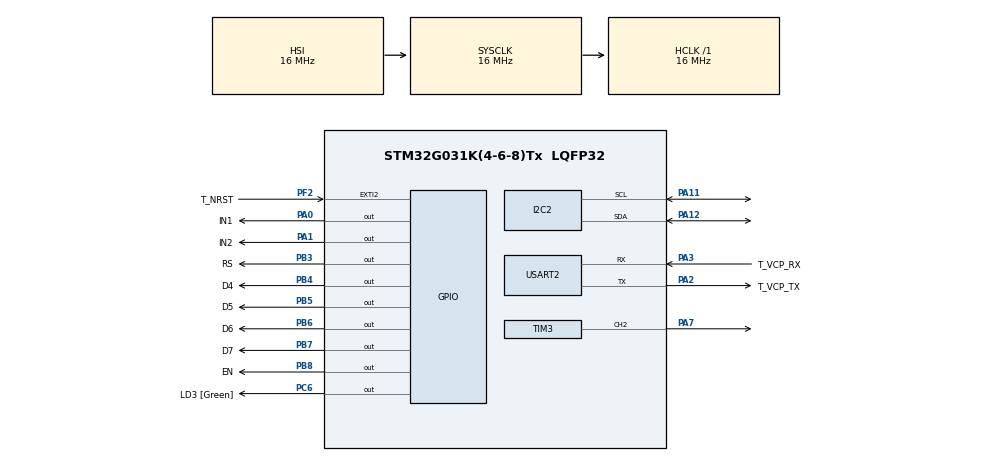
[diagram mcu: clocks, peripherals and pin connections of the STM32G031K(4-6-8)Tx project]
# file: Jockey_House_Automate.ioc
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Mcu.Family=STM32G0
Mcu.Name=STM32G031K(4-6-8)Tx
Mcu.Package=LQFP32
PA0.GPIO_Label=IN1
PA0.GPIO_PuPd=GPIO_NOPULL
PA0.PinState=GPIO_PIN_SET
PA0.Signal=GPIO_Output
PA1.GPIO_Label=IN2
PA1.GPIO_PuPd=GPIO_NOPULL
PA1.PinState=GPIO_PIN_SET
PA1.Signal=GPIO_Output
PA11\ [PA9].Mode=I2C
PA11\ [PA9].Signal=I2C2_SCL
PA12\ [PA10].Mode=I2C
PA12\ [PA10].Signal=I2C2_SDA
PA13.GPIO_Label=T_JTMS
PA13.Mode=Serial_Wire
PA13.Signal=SYS_SWDIO
PA14-BOOT0.GPIO_Label=T_JTCK
PA14-BOOT0.Mode=Serial_Wire
PA14-BOOT0.Signal=SYS_SWCLK
PA2.GPIO_Label=T_VCP_TX
PA2.GPIO_PuPd=GPIO_PULLUP
PA2.Mode=Asynchronous
PA2.Signal=USART2_TX
PA3.GPIO_Label=T_VCP_RX
PA3.GPIO_PuPd=GPIO_PULLUP
PA3.Mode=Asynchronous
PA3.Signal=USART2_RX
PA7.Signal=S_TIM3_CH2
PB3.GPIO_Label=RS
PB3.Signal=GPIO_Output
PB4.GPIO_Label=D4
PB4.Signal=GPIO_Output
PB5.GPIO_Label=D5
PB5.Signal=GPIO_Output
PB6.GPIO_Label=D6
PB6.Signal=GPIO_Output
PB7.GPIO_Label=D7
PB7.Signal=GPIO_Output
PB8.GPIO_Label=EN
PB8.Signal=GPIO_Output
PC14-OSC32_IN\ (PC14).Mode=LSE-External-Oscillator
PC14-OSC32_IN\ (PC14).Signal=RCC_OSC32_IN
PC15-OSC32_OUT\ (PC15).Mode=LSE-External-Oscillator
PC15-OSC32_OUT\ (PC15).Signal=RCC_OSC32_OUT
PC6.GPIO_Label=LD3 [Green]
PC6.Signal=GPIO_Output
PF2\ -\ NRST.GPIO_Label=T_NRST
PF2\ -\ NRST.Signal=GPXTI2
ProjectManager.HeapSize=0x200
ProjectManager.StackSize=0x400
ProjectManager.TargetToolchain=STM32CubeIDE
RCC.AHBFreq_Value=16000000
RCC.CortexFreq_Value=16000000
RCC.EXTERNAL_CLOCK_VALUE=12288000
RCC.HCLKFreq_Value=16000000
RCC.HSE_VALUE=8000000
RCC.HSI_VALUE=16000000
RCC.SYSCLKFreq_VALUE=16000000
RCC.VCOOutputFreq_Value=128000000
SH.S_TIM3_CH2.0=TIM3_CH2,PWM Generation2 CH2
TIM3.Channel-PWM\ Generation2\ CH2=TIM_CHANNEL_2
TIM3.Period=199
TIM3.Prescaler=15
TIM3.Pulse-PWM\ Generation2\ CH2=100
USART2.VirtualMode-Asynchronous=VM_ASYNC
USART2.WordLength=WORDLENGTH_7B
board=NUCLEO-G031K8

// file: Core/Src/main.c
/* USER CODE BEGIN Header */
/**
  ******************************************************************************
  * @file           : main.c
  * @brief          : Main program body
  ******************************************************************************
  * @attention
  *
  * Copyright (c) 2025 STMicroelectronics.
  * All rights reserved.
  *
  * This software is licensed under terms that can be found in the LICENSE file
  * in the root directory of this software component.
  * If no LICENSE file comes with this software, it is provided AS-IS.
  *
  ******************************************************************************
  */
/* USER CODE END Header */
#include "main.h"

/* USER CODE BEGIN Includes */
#include <stdio.h>
#include <stdlib.h>
#include <string.h>
#include "ds3231_for_stm32_hal.h"
#include "lcd16x2.h"
/* USER CODE END Includes */

/* USER CODE BEGIN PD */

// Below variables are for RTC DS3231
uint8_t hr,min,sec;
char clock[16];

// Below variables are for AHT20
#define addr (0x38<<1)    //This address writes to Slave Devices, we get 0x70
#define status1 0x71

char buffer[45];
uint8_t buff_stat[1];
uint8_t aht_init[3]={0xBE,0x08,0x00};
uint8_t trig_measurement[3]={0xAC,0x33,0x00};
uint8_t data[6];
char temp_str[16];
char humi_str[16];

uint32_t t;
uint32_t h;

float Temp;
uint8_t Humidity;

//For Relay Timings

#define UV_ON_HOUR     8     // 08:00 AM
#define UV_OFF_HOUR    21    // 05:00 PM

// Ambient Light (LED Strip) ON/OFF and Fade Times
#define AMBIENT_LIGHT_FADE_IN_START_HOUR   9
#define AMBIENT_LIGHT_FADE_IN_START_MIN    30

#define AMBIENT_LIGHT_FADE_IN_END_HOUR     9
#define AMBIENT_LIGHT_FADE_IN_END_MIN      45

#define AMBIENT_LIGHT_FADE_OUT_START_HOUR  20
#define AMBIENT_LIGHT_FADE_OUT_START_MIN   50

#define AMBIENT_LIGHT_FADE_OUT_END_HOUR    20
#define AMBIENT_LIGHT_FADE_OUT_END_MIN     55

#define PWM_MAX_DUTY_CYCLE                 100						//Alter this no. to control the Duty Cycle/Brightness of the LED. 199 corresponds to 100% Duty Cycle. Currently set to 50%

/* USER CODE END PD */

I2C_HandleTypeDef hi2c2;

TIM_HandleTypeDef htim3;

UART_HandleTypeDef huart2;

void SystemClock_Config(void);
static void MX_GPIO_Init(void);
static void MX_USART2_UART_Init(void);
static void MX_I2C2_Init(void);
static void MX_TIM3_Init(void);
/* USER CODE BEGIN PFP */
void Temperature_();
void Humidity_();

/* USER CODE END PFP */

int main(void)
{

  /* MCU Configuration--------------------------------------------------------*/

  /* Reset of all peripherals, Initializes the Flash interface and the Systick. */
  HAL_Init();

  /* Configure the system clock */
  SystemClock_Config();

  /* Initialize all configured peripherals */
  MX_GPIO_Init();
  MX_USART2_UART_Init();
  MX_I2C2_Init();
  MX_TIM3_Init();
  /* USER CODE BEGIN 2 */

  lcd16x2_init_4bits(RS_GPIO_Port,RS_Pin,EN_Pin,
    		D4_GPIO_Port,D4_Pin,D5_Pin,D6_Pin,D7_Pin);
  lcd16x2_cursorShow(0);

  HAL_TIM_PWM_Start(&htim3, TIM_CHANNEL_2);
  __HAL_TIM_SET_COMPARE(&htim3, TIM_CHANNEL_2, 100);			//This value:199 means 100% duty cycle. 199 value is set in the ARR.You must match the compare value to the ARR value to get 100percent duty cycle

  /* DS3231 RTC SENSOR  */
  // DS3231_SetFullDate(day, month, dow, year)
  // 'dow' = Day of the week (1=Sunday, ..., 7=Saturday)
    DS3231_Init(&hi2c2);
  //DS3231_SetFullTime(19, 49, 00);
  //DS3231_SetFullDate(01, 8, 1, 2025);    //

  /* AHT20 TEMP & HUM  */
  HAL_Delay(40);
  buff_stat[0] = status1;
  HAL_I2C_Master_Transmit(&hi2c2, addr, buff_stat,1, HAL_MAX_DELAY);
  HAL_Delay(5);
  HAL_I2C_Master_Receive(&hi2c2, addr, &buff_stat[0],1, HAL_MAX_DELAY);
  HAL_Delay(5);

  if((buff_stat[0] & (1<<3)) == 0x00){ 		//bit 3 contains 0 instead of 1 then we need to initialize it/Calibrate it

	  	  HAL_I2C_Master_Transmit(&hi2c2, addr, aht_init,3, HAL_MAX_DELAY);
	  	  HAL_Delay(12);
	  	  HAL_I2C_Master_Transmit(&hi2c2, addr, trig_measurement,3, HAL_MAX_DELAY);
	  	  HAL_Delay(80);

	  	 // sprintf(buffer,"%x\r\n",temp_crc_read[0]);
	      sprintf(buffer,"It is Not Calibrated, need to init N trig");
	 	  HAL_UART_Transmit(&huart2, (uint8_t*)buffer, sizeof(buffer), 100);
	 	  HAL_Delay(1000);

  }

  /* USER CODE END 2 */

  /* Infinite loop */
  while (1)
  {

    /* USER CODE BEGIN 3 */
	  // ---- Getting RTC Values from the RTC Module ----
	  hr = DS3231_GetHour();
	  min = DS3231_GetMinute();
	  sec = DS3231_GetSecond();

	  // ---- Ambient Light PWM Control ----
	  uint16_t current_minutes = hr * 60 + min;
	  uint16_t fade_in_start  = AMBIENT_LIGHT_FADE_IN_START_HOUR * 60 + AMBIENT_LIGHT_FADE_IN_START_MIN;
	  uint16_t fade_in_end    = AMBIENT_LIGHT_FADE_IN_END_HOUR * 60 + AMBIENT_LIGHT_FADE_IN_END_MIN;
	  uint16_t fade_out_start = AMBIENT_LIGHT_FADE_OUT_START_HOUR * 60 + AMBIENT_LIGHT_FADE_OUT_START_MIN;
	  uint16_t fade_out_end   = AMBIENT_LIGHT_FADE_OUT_END_HOUR * 60 + AMBIENT_LIGHT_FADE_OUT_END_MIN;

	  uint16_t brightness = 0;

	  if (current_minutes >= fade_in_start && current_minutes < fade_in_end) {
	      float ratio = (float)(current_minutes - fade_in_start) / (fade_in_end - fade_in_start);
	      brightness = (uint16_t)(ratio * PWM_MAX_DUTY_CYCLE);
	  }
	  else if (current_minutes >= fade_in_end && current_minutes < fade_out_start) {
	      brightness = PWM_MAX_DUTY_CYCLE;
	  }
	  else if (current_minutes >= fade_out_start && current_minutes < fade_out_end) {
	      float ratio = (float)(fade_out_end - current_minutes) / (fade_out_end - fade_out_start);
	      brightness = (uint16_t)(ratio * PWM_MAX_DUTY_CYCLE);
	  }
	  else {
	      brightness = 0;
	  }

	  __HAL_TIM_SET_COMPARE(&htim3, TIM_CHANNEL_2, brightness);

	  // ---- Getting Temp and Humidity Data from the Sensor Module
	  HAL_I2C_Master_Transmit(&hi2c2, addr, trig_measurement,3, HAL_MAX_DELAY);
	  HAL_Delay(80);
	  HAL_I2C_Master_Receive(&hi2c2, addr,data,sizeof(data), HAL_MAX_DELAY);
      Humidity_();
      Temperature_();

      sprintf(temp_str, "%.1f", Temp);
      sprintf(humi_str, "%u", Humidity);
      sprintf(clock,"%02u:%02u:%02u", hr, min,sec);

	  if (hr >= UV_ON_HOUR && hr < UV_OFF_HOUR) {
	      HAL_GPIO_WritePin(IN1_GPIO_Port, IN1_Pin, GPIO_PIN_RESET);  // Turn ON UV Lamp
	  } else {
	      HAL_GPIO_WritePin(IN1_GPIO_Port, IN1_Pin, GPIO_PIN_SET); // Turn OFF UV Lamp
	  }

	  // Screen 1: Temp & Humidity (10s static)
	      // -------------------
	      lcd16x2_clear();
	      lcd16x2_printf("T:%s%cC", temp_str, 223);
	      lcd16x2_2ndLine();
	      lcd16x2_printf("H:%s%c", humi_str, 37);
	      HAL_Delay(10000);  // wait for 10 seconds

	      // -------------------
	      // Screen 2: Time & UV status (3s static)
	      // -------------------
	      lcd16x2_clear();
	      lcd16x2_printf("%s", clock);
	      lcd16x2_2ndLine();
	      lcd16x2_printf("UV:%s", (hr >= UV_ON_HOUR && hr < UV_OFF_HOUR) ? "ON " : "OFF");
	      HAL_Delay(3000);   // wait for 3 seconds

  }
  /* USER CODE END 3 */
}

void SystemClock_Config(void)
{
  RCC_OscInitTypeDef RCC_OscInitStruct = {0};
  RCC_ClkInitTypeDef RCC_ClkInitStruct = {0};

  /** Configure the main internal regulator output voltage
  */
  HAL_PWREx_ControlVoltageScaling(PWR_REGULATOR_VOLTAGE_SCALE1);

  /** Initializes the RCC Oscillators according to the specified parameters
  * in the RCC_OscInitTypeDef structure.
  */
  RCC_OscInitStruct.OscillatorType = RCC_OSCILLATORTYPE_HSI;
  RCC_OscInitStruct.HSIState = RCC_HSI_ON;
  RCC_OscInitStruct.HSIDiv = RCC_HSI_DIV1;
  RCC_OscInitStruct.HSICalibrationValue = RCC_HSICALIBRATION_DEFAULT;
  RCC_OscInitStruct.PLL.PLLState = RCC_PLL_NONE;
  if (HAL_RCC_OscConfig(&RCC_OscInitStruct) != HAL_OK)
  {
    Error_Handler();
  }

  /** Initializes the CPU, AHB and APB buses clocks
  */
  RCC_ClkInitStruct.ClockType = RCC_CLOCKTYPE_HCLK|RCC_CLOCKTYPE_SYSCLK
                              |RCC_CLOCKTYPE_PCLK1;
  RCC_ClkInitStruct.SYSCLKSource = RCC_SYSCLKSOURCE_HSI;
  RCC_ClkInitStruct.AHBCLKDivider = RCC_SYSCLK_DIV1;
  RCC_ClkInitStruct.APB1CLKDivider = RCC_HCLK_DIV1;

  if (HAL_RCC_ClockConfig(&RCC_ClkInitStruct, FLASH_LATENCY_0) != HAL_OK)
  {
    Error_Handler();
  }
}

static void MX_I2C2_Init(void)
{

  hi2c2.Instance = I2C2;
  hi2c2.Init.Timing = 0x00303D5B;
  hi2c2.Init.OwnAddress1 = 0;
  hi2c2.Init.AddressingMode = I2C_ADDRESSINGMODE_7BIT;
  hi2c2.Init.DualAddressMode = I2C_DUALADDRESS_DISABLE;
  hi2c2.Init.OwnAddress2 = 0;
  hi2c2.Init.OwnAddress2Masks = I2C_OA2_NOMASK;
  hi2c2.Init.GeneralCallMode = I2C_GENERALCALL_DISABLE;
  hi2c2.Init.NoStretchMode = I2C_NOSTRETCH_DISABLE;
  if (HAL_I2C_Init(&hi2c2) != HAL_OK)
  {
    Error_Handler();
  }

  /** Configure Analogue filter
  */
  if (HAL_I2CEx_ConfigAnalogFilter(&hi2c2, I2C_ANALOGFILTER_ENABLE) != HAL_OK)
  {
    Error_Handler();
  }

  /** Configure Digital filter
  */
  if (HAL_I2CEx_ConfigDigitalFilter(&hi2c2, 0) != HAL_OK)
  {
    Error_Handler();
  }

}

static void MX_TIM3_Init(void)
{

  TIM_MasterConfigTypeDef sMasterConfig = {0};
  TIM_OC_InitTypeDef sConfigOC = {0};

  htim3.Instance = TIM3;
  htim3.Init.Prescaler = 15;
  htim3.Init.CounterMode = TIM_COUNTERMODE_UP;
  htim3.Init.Period = 199;
  htim3.Init.ClockDivision = TIM_CLOCKDIVISION_DIV1;
  htim3.Init.AutoReloadPreload = TIM_AUTORELOAD_PRELOAD_DISABLE;
  if (HAL_TIM_PWM_Init(&htim3) != HAL_OK)
  {
    Error_Handler();
  }
  sMasterConfig.MasterOutputTrigger = TIM_TRGO_RESET;
  sMasterConfig.MasterSlaveMode = TIM_MASTERSLAVEMODE_DISABLE;
  if (HAL_TIMEx_MasterConfigSynchronization(&htim3, &sMasterConfig) != HAL_OK)
  {
    Error_Handler();
  }
  sConfigOC.OCMode = TIM_OCMODE_PWM1;
  sConfigOC.Pulse = 100;
  sConfigOC.OCPolarity = TIM_OCPOLARITY_HIGH;
  sConfigOC.OCFastMode = TIM_OCFAST_DISABLE;
  if (HAL_TIM_PWM_ConfigChannel(&htim3, &sConfigOC, TIM_CHANNEL_2) != HAL_OK)
  {
    Error_Handler();
  }
  HAL_TIM_MspPostInit(&htim3);

}

static void MX_USART2_UART_Init(void)
{

  huart2.Instance = USART2;
  huart2.Init.BaudRate = 115200;
  huart2.Init.WordLength = UART_WORDLENGTH_7B;
  huart2.Init.StopBits = UART_STOPBITS_1;
  huart2.Init.Parity = UART_PARITY_NONE;
  huart2.Init.Mode = UART_MODE_TX_RX;
  huart2.Init.HwFlowCtl = UART_HWCONTROL_NONE;
  huart2.Init.OverSampling = UART_OVERSAMPLING_16;
  huart2.Init.OneBitSampling = UART_ONE_BIT_SAMPLE_DISABLE;
  huart2.Init.ClockPrescaler = UART_PRESCALER_DIV1;
  huart2.AdvancedInit.AdvFeatureInit = UART_ADVFEATURE_NO_INIT;
  if (HAL_UART_Init(&huart2) != HAL_OK)
  {
    Error_Handler();
  }

}

static void MX_GPIO_Init(void)
{
  GPIO_InitTypeDef GPIO_InitStruct = {0};

  /* GPIO Ports Clock Enable */
  __HAL_RCC_GPIOC_CLK_ENABLE();
  __HAL_RCC_GPIOF_CLK_ENABLE();
  __HAL_RCC_GPIOA_CLK_ENABLE();
  __HAL_RCC_GPIOB_CLK_ENABLE();

  /*Configure GPIO pin Output Level */
  HAL_GPIO_WritePin(GPIOA, IN1_Pin|IN2_Pin, GPIO_PIN_SET);

  /*Configure GPIO pin Output Level */
  HAL_GPIO_WritePin(LD3_GPIO_Port, LD3_Pin, GPIO_PIN_RESET);

  /*Configure GPIO pin Output Level */
  HAL_GPIO_WritePin(GPIOB, RS_Pin|D4_Pin|D5_Pin|D6_Pin
                          |D7_Pin|EN_Pin, GPIO_PIN_RESET);

  /*Configure GPIO pin : T_NRST_Pin */
  GPIO_InitStruct.Pin = T_NRST_Pin;
  GPIO_InitStruct.Mode = GPIO_MODE_IT_RISING;
  GPIO_InitStruct.Pull = GPIO_NOPULL;
  HAL_GPIO_Init(T_NRST_GPIO_Port, &GPIO_InitStruct);

  /*Configure GPIO pins : IN1_Pin IN2_Pin */
  GPIO_InitStruct.Pin = IN1_Pin|IN2_Pin;
  GPIO_InitStruct.Mode = GPIO_MODE_OUTPUT_PP;
  GPIO_InitStruct.Pull = GPIO_NOPULL;
  GPIO_InitStruct.Speed = GPIO_SPEED_FREQ_LOW;
  HAL_GPIO_Init(GPIOA, &GPIO_InitStruct);

  /*Configure GPIO pin : LD3_Pin */
  GPIO_InitStruct.Pin = LD3_Pin;
  GPIO_InitStruct.Mode = GPIO_MODE_OUTPUT_PP;
  GPIO_InitStruct.Pull = GPIO_NOPULL;
  GPIO_InitStruct.Speed = GPIO_SPEED_FREQ_LOW;
  HAL_GPIO_Init(LD3_GPIO_Port, &GPIO_InitStruct);

  /*Configure GPIO pins : RS_Pin D4_Pin D5_Pin D6_Pin
                           D7_Pin EN_Pin */
  GPIO_InitStruct.Pin = RS_Pin|D4_Pin|D5_Pin|D6_Pin
                          |D7_Pin|EN_Pin;
  GPIO_InitStruct.Mode = GPIO_MODE_OUTPUT_PP;
  GPIO_InitStruct.Pull = GPIO_NOPULL;
  GPIO_InitStruct.Speed = GPIO_SPEED_FREQ_LOW;
  HAL_GPIO_Init(GPIOB, &GPIO_InitStruct);

}

/* USER CODE BEGIN 4 */

void Humidity_(void){

	  h = data[1];
	  h<<=8;
	  h|=data[2];
	  h<<=4;
	  h|=data[3]>>4;
	  Humidity = ((float)h*100) / 0x100000;
}

void Temperature_(void){

	 t = data[3] & 0x0F;
     t <<=8;
     t|=data[4];
	 t<<=8;
	 t|=data[5];
	 Temp = ((float)t*200/0x100000)-50;

}

/* USER CODE END 4 */

void Error_Handler(void)
{
  __disable_irq();
  while (1)
  {
  }
}
